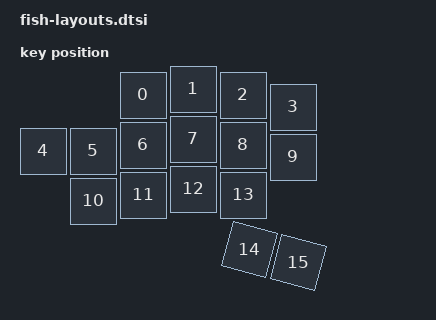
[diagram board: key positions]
#include <physical_layouts.dtsi>

/ {
    physical_layout0: physical_layout_0 {
        compatible = "zmk,physical-layout";
        display-name = "Fish Keyboard";
        
        keys  //                     w   h    x    y     rot    rx    ry
            = <&key_physical_attrs 100 100  200   12       0     0     0>
            , <&key_physical_attrs 100 100  300    0       0     0     0>
            , <&key_physical_attrs 100 100  400   12       0     0     0>
            , <&key_physical_attrs 100 100  500   36       0     0     0>
            , <&key_physical_attrs 100 100    0  124       0     0     0>
            , <&key_physical_attrs 100 100  100  124       0     0     0>
            , <&key_physical_attrs 100 100  200  112       0     0     0>
            , <&key_physical_attrs 100 100  300  100       0     0     0>
            , <&key_physical_attrs 100 100  400  112       0     0     0>
            , <&key_physical_attrs 100 100  500  136       0     0     0>
            , <&key_physical_attrs 100 100  100  224       0     0     0>
            , <&key_physical_attrs 100 100  200  212       0     0     0>
            , <&key_physical_attrs 100 100  300  200       0     0     0>
            , <&key_physical_attrs 100 100  400  212       0     0     0>
            , <&key_physical_attrs 100 100  428  310    1500   428   310>
            , <&key_physical_attrs 100 100  525  336    1500   525   336>
            ;
    };
};
